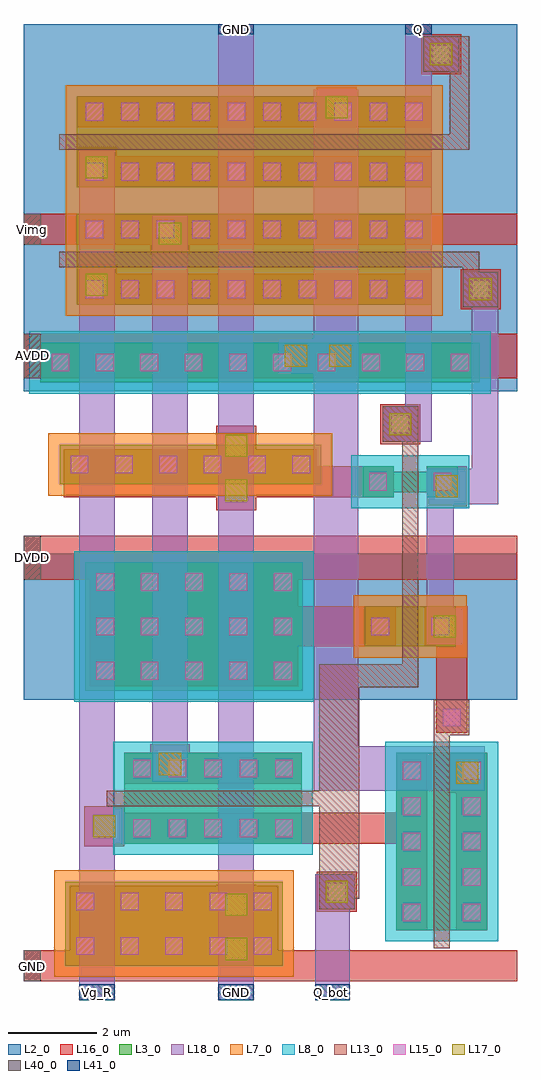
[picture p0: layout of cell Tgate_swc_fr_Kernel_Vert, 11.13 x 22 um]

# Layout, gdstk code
from math import pi, radians
import gdstk
lib = gdstk.Library(unit=1e-6, precision=1e-09)
def R(c, l, rs):  # rectangles x0, y0, x1, y1
    for r in rs: c.add(gdstk.rectangle(r[:2], r[2:], *l))
def A(c, l, x, y, w, h, nx, ny, dx, dy):  # array of equal rectangles
    R(c, l, [(x+i*dx, y+j*dy, x+i*dx+w, y+j*dy+h) for i in range(nx) for j in range(ny)])
L2_0 = (2, 0)
L3_0 = (3, 0)
L7_0 = (7, 0)
L8_0 = (8, 0)
L13_0 = (13, 0)
L15_0 = (15, 0)
L16_0 = (16, 0)
L17_0 = (17, 0)
L18_0 = (18, 0)
L40_0 = (40, 0)
L41_0 = (41, 0)

nch_cdns_760839323830 = lib.new_cell('nch_CDNS_760839323830')
R(nch_cdns_760839323830, L3_0, [(-0.85,0,-0.15,4), (-0.85,0,-0.15,4), (-0.15,0,0.5,4), (0.5,0,1.2,4), (0.5,0,1.2,4)])
R(nch_cdns_760839323830, L8_0, [(-1.1,-0.25,1.45,4.25)])
R(nch_cdns_760839323830, L13_0, [(0,-0.4,0.35,4.4)])
A(nch_cdns_760839323830, L15_0, -0.7, 0.2, 0.4, 0.4, 1, 5, 0, 0.8)
A(nch_cdns_760839323830, L15_0, 0.65, 0.2, 0.4, 0.4, 1, 5, 0, 0.8)
R(nch_cdns_760839323830, L16_0, [(-0.85,0,-0.15,4), (0.5,0,1.2,4)])
nch_cdns_760839323830.add(gdstk.Label('D', (0.85,2), layer=59, texttype=0))
nch_cdns_760839323830.add(gdstk.Label('S', (-0.5,2), layer=59, texttype=0))
nch_cdns_760839323830.add(gdstk.Label('G', (0.175,2), layer=59, texttype=0))
nch_cdns_760839323830.add(gdstk.Label('& SerialNumber 000000', (0,0), layer=16, texttype=0))
nch_cdns_760839323830.add(gdstk.Label('& Distributor VIS', (0,0), layer=16, texttype=0))
nch_cdns_760839323830.add(gdstk.Label('& Metric 1', (0,0), layer=16, texttype=0))
nch_cdns_760839323830.add(gdstk.Label('& Version    \t  1.7A', (0,0), layer=16, texttype=0))
nch_cdns_760839323830.add(gdstk.Label('& PDKName     vis35cv', (0,0), layer=16, texttype=0))
nch_cdns_760839323830.add(gdstk.Label('& Vendor VIS Corp.', (0,0), layer=16, texttype=0))
nch_cdns_760839323830.add(gdstk.Label('& SerialNumber 000000', (0,0), layer=63, texttype=63))
nch_cdns_760839323830.add(gdstk.Label('& Distributor VIS', (0,0), layer=63, texttype=63))
nch_cdns_760839323830.add(gdstk.Label('& Metric 1', (0,0), layer=63, texttype=63))
nch_cdns_760839323830.add(gdstk.Label('& Version    \t  1.7A', (0,0), layer=63, texttype=63))
nch_cdns_760839323830.add(gdstk.Label('& PDKName     vis35cv', (0,0), layer=63, texttype=63))
nch_cdns_760839323830.add(gdstk.Label('& Vendor VIS Corp.', (0,0), layer=63, texttype=63))

pch_cdns_760839323831 = lib.new_cell('pch_CDNS_760839323831')
R(pch_cdns_760839323831, L2_0, [(-2.05,-1.2,2.4,2.1)])
R(pch_cdns_760839323831, L3_0, [(-0.85,0,-0.15,0.9), (-0.85,0,-0.15,0.9), (-0.15,0,0.5,0.9), (0.5,0,1.2,0.9), (0.5,0,1.2,0.9)])
R(pch_cdns_760839323831, L7_0, [(-1.1,-0.25,1.45,1.15)])
R(pch_cdns_760839323831, L13_0, [(0,-0.4,0.35,1.3)])
R(pch_cdns_760839323831, L15_0, [(-0.7,0.25,-0.3,0.65), (0.65,0.25,1.05,0.65)])
R(pch_cdns_760839323831, L16_0, [(-0.85,0,-0.15,0.9), (0.5,0,1.2,0.9)])
pch_cdns_760839323831.add(gdstk.Label('D', (0.85,0.45), layer=59, texttype=0))
pch_cdns_760839323831.add(gdstk.Label('S', (-0.5,0.45), layer=59, texttype=0))
pch_cdns_760839323831.add(gdstk.Label('G', (0.175,0.45), layer=59, texttype=0))
pch_cdns_760839323831.add(gdstk.Label('& SerialNumber 000000', (0,0), layer=16, texttype=0))
pch_cdns_760839323831.add(gdstk.Label('& Distributor VIS', (0,0), layer=16, texttype=0))
pch_cdns_760839323831.add(gdstk.Label('& Metric 1', (0,0), layer=16, texttype=0))
pch_cdns_760839323831.add(gdstk.Label('& Version    \t  1.7A', (0,0), layer=16, texttype=0))
pch_cdns_760839323831.add(gdstk.Label('& PDKName     vis35cv', (0,0), layer=16, texttype=0))
pch_cdns_760839323831.add(gdstk.Label('& Vendor VIS Corp.', (0,0), layer=16, texttype=0))
pch_cdns_760839323831.add(gdstk.Label('& SerialNumber 000000', (0,0), layer=63, texttype=63))
pch_cdns_760839323831.add(gdstk.Label('& Distributor VIS', (0,0), layer=63, texttype=63))
pch_cdns_760839323831.add(gdstk.Label('& Metric 1', (0,0), layer=63, texttype=63))
pch_cdns_760839323831.add(gdstk.Label('& Version    \t  1.7A', (0,0), layer=63, texttype=63))
pch_cdns_760839323831.add(gdstk.Label('& PDKName     vis35cv', (0,0), layer=63, texttype=63))
pch_cdns_760839323831.add(gdstk.Label('& Vendor VIS Corp.', (0,0), layer=63, texttype=63))

nch_cdns_760839323832 = lib.new_cell('nch_CDNS_760839323832')
R(nch_cdns_760839323832, L3_0, [(-0.9,-0.12,-0.2,0.58), (0.55,-0.12,1.25,0.58), (-0.9,0,-0.2,0.46), (-0.2,0,0.55,0.46), (0.55,0,1.25,0.46)])
R(nch_cdns_760839323832, L8_0, [(-1.15,-0.37,1.5,0.83)])
R(nch_cdns_760839323832, L13_0, [(0,-0.4,0.35,0.86)])
R(nch_cdns_760839323832, L15_0, [(-0.75,0.03,-0.35,0.43), (0.7,0.03,1.1,0.43)])
R(nch_cdns_760839323832, L16_0, [(-0.9,-0.12,-0.2,0.58), (0.55,-0.12,1.25,0.58)])
nch_cdns_760839323832.add(gdstk.Label('D', (0.9,0.23), layer=59, texttype=0))
nch_cdns_760839323832.add(gdstk.Label('S', (-0.55,0.23), layer=59, texttype=0))
nch_cdns_760839323832.add(gdstk.Label('G', (0.175,0.23), layer=59, texttype=0))
nch_cdns_760839323832.add(gdstk.Label('& SerialNumber 000000', (0,0), layer=16, texttype=0))
nch_cdns_760839323832.add(gdstk.Label('& Distributor VIS', (0,0), layer=16, texttype=0))
nch_cdns_760839323832.add(gdstk.Label('& Metric 1', (0,0), layer=16, texttype=0))
nch_cdns_760839323832.add(gdstk.Label('& Version    \t  1.7A', (0,0), layer=16, texttype=0))
nch_cdns_760839323832.add(gdstk.Label('& PDKName     vis35cv', (0,0), layer=16, texttype=0))
nch_cdns_760839323832.add(gdstk.Label('& Vendor VIS Corp.', (0,0), layer=16, texttype=0))
nch_cdns_760839323832.add(gdstk.Label('& SerialNumber 000000', (0,0), layer=63, texttype=63))
nch_cdns_760839323832.add(gdstk.Label('& Distributor VIS', (0,0), layer=63, texttype=63))
nch_cdns_760839323832.add(gdstk.Label('& Metric 1', (0,0), layer=63, texttype=63))
nch_cdns_760839323832.add(gdstk.Label('& Version    \t  1.7A', (0,0), layer=63, texttype=63))
nch_cdns_760839323832.add(gdstk.Label('& PDKName     vis35cv', (0,0), layer=63, texttype=63))
nch_cdns_760839323832.add(gdstk.Label('& Vendor VIS Corp.', (0,0), layer=63, texttype=63))

pch_cdns_760839323833 = lib.new_cell('pch_CDNS_760839323833')
R(pch_cdns_760839323833, L2_0, [(-2.05,-1.2,2.4,9.2)])
R(pch_cdns_760839323833, L3_0, [(-0.85,0,-0.15,8), (-0.85,0,-0.15,8), (-0.15,0,0.5,8), (0.5,0,1.2,8), (0.5,0,1.2,8)])
R(pch_cdns_760839323833, L7_0, [(-1.1,-0.25,1.45,8.25)])
R(pch_cdns_760839323833, L13_0, [(0,-0.4,0.35,8.4)])
A(pch_cdns_760839323833, L15_0, -0.7, 0.2, 0.4, 0.4, 1, 10, 0, 0.8)
A(pch_cdns_760839323833, L15_0, 0.65, 0.2, 0.4, 0.4, 1, 10, 0, 0.8)
R(pch_cdns_760839323833, L16_0, [(-0.85,0,-0.15,8), (0.5,0,1.2,8)])
pch_cdns_760839323833.add(gdstk.Label('D', (0.85,4), layer=59, texttype=0))
pch_cdns_760839323833.add(gdstk.Label('S', (-0.5,4), layer=59, texttype=0))
pch_cdns_760839323833.add(gdstk.Label('G', (0.175,4), layer=59, texttype=0))
pch_cdns_760839323833.add(gdstk.Label('& SerialNumber 000000', (0,0), layer=16, texttype=0))
pch_cdns_760839323833.add(gdstk.Label('& Distributor VIS', (0,0), layer=16, texttype=0))
pch_cdns_760839323833.add(gdstk.Label('& Metric 1', (0,0), layer=16, texttype=0))
pch_cdns_760839323833.add(gdstk.Label('& Version    \t  1.7A', (0,0), layer=16, texttype=0))
pch_cdns_760839323833.add(gdstk.Label('& PDKName     vis35cv', (0,0), layer=16, texttype=0))
pch_cdns_760839323833.add(gdstk.Label('& Vendor VIS Corp.', (0,0), layer=16, texttype=0))
pch_cdns_760839323833.add(gdstk.Label('& SerialNumber 000000', (0,0), layer=63, texttype=63))
pch_cdns_760839323833.add(gdstk.Label('& Distributor VIS', (0,0), layer=63, texttype=63))
pch_cdns_760839323833.add(gdstk.Label('& Metric 1', (0,0), layer=63, texttype=63))
pch_cdns_760839323833.add(gdstk.Label('& Version    \t  1.7A', (0,0), layer=63, texttype=63))
pch_cdns_760839323833.add(gdstk.Label('& PDKName     vis35cv', (0,0), layer=63, texttype=63))
pch_cdns_760839323833.add(gdstk.Label('& Vendor VIS Corp.', (0,0), layer=63, texttype=63))

m1_nwell_cdns_7608393238 = lib.new_cell('M1_NWELL_CDNS_760839323830')
R(m1_nwell_cdns_7608393238, L2_0, [(-2.65,-1.65,2.65,1.65)])
R(m1_nwell_cdns_7608393238, L3_0, [(-2.45,-1.45,2.45,1.45)])
R(m1_nwell_cdns_7608393238, L8_0, [(-2.7,-1.7,2.7,1.7)])
A(m1_nwell_cdns_7608393238, L15_0, -2.2, -1.2, 0.4, 0.4, 5, 3, 1, 1)
R(m1_nwell_cdns_7608393238, L16_0, [(-2.35,-1.35,2.35,1.35)])

c_m1_nwell_cdns_7608393238 = lib.new_cell('M1_NWELL_CDNS_760839323831')
R(c_m1_nwell_cdns_7608393238, L2_0, [(-5.15,-0.65,5.15,0.65)])
R(c_m1_nwell_cdns_7608393238, L3_0, [(-4.95,-0.45,4.95,0.45)])
R(c_m1_nwell_cdns_7608393238, L8_0, [(-5.2,-0.7,5.2,0.7)])
A(c_m1_nwell_cdns_7608393238, L15_0, -4.7, -0.2, 0.4, 0.4, 10, 1, 1, 0)
R(c_m1_nwell_cdns_7608393238, L16_0, [(-4.85,-0.35,4.85,0.35)])

m1_pactive_cdns_76083932 = lib.new_cell('M1_PACTIVE_CDNS_760839323832')
R(m1_pactive_cdns_76083932, L3_0, [(-2.95,-0.45,2.95,0.45)])
R(m1_pactive_cdns_76083932, L7_0, [(-3.2,-0.7,3.2,0.7)])
A(m1_pactive_cdns_76083932, L15_0, -2.7, -0.2, 0.4, 0.4, 6, 1, 1, 0)
R(m1_pactive_cdns_76083932, L16_0, [(-2.85,-0.35,2.85,0.35)])

m1_poly1_cdns_7608393238 = lib.new_cell('M1_POLY1_CDNS_760839323833')
R(m1_poly1_cdns_7608393238, L13_0, [(-0.4,-0.4,0.4,0.4)])
R(m1_poly1_cdns_7608393238, L15_0, [(-0.2,-0.2,0.2,0.2)])
R(m1_poly1_cdns_7608393238, L16_0, [(-0.45,-0.45,0.45,0.45)])

m2_m1_cdns_760839323834 = lib.new_cell('M2_M1_CDNS_760839323834')
R(m2_m1_cdns_760839323834, L16_0, [(-0.45,-0.45,0.45,0.45)])
R(m2_m1_cdns_760839323834, L17_0, [(-0.25,-0.25,0.25,0.25)])
R(m2_m1_cdns_760839323834, L18_0, [(-0.4,-0.4,0.4,0.4)])

c_m1_poly1_cdns_7608393238 = lib.new_cell('M1_POLY1_CDNS_760839323835')
R(c_m1_poly1_cdns_7608393238, L13_0, [(-0.4,-0.4,0.4,0.4)])
R(c_m1_poly1_cdns_7608393238, L15_0, [(-0.2,-0.2,0.2,0.2)])
R(c_m1_poly1_cdns_7608393238, L16_0, [(-0.35,-0.35,0.35,0.35)])

m2_m1_cdns_760839323836 = lib.new_cell('M2_M1_CDNS_760839323836')
R(m2_m1_cdns_760839323836, L16_0, [(-0.95,-0.45,0.95,0.45)])
R(m2_m1_cdns_760839323836, L17_0, [(-0.75,-0.25,-0.25,0.25), (0.25,-0.25,0.75,0.25)])
R(m2_m1_cdns_760839323836, L18_0, [(-0.9,-0.4,0.9,0.4)])

m2_m1_cdns_760839323837 = lib.new_cell('M2_M1_CDNS_760839323837')
R(m2_m1_cdns_760839323837, L16_0, [(-0.45,-0.95,0.45,0.95)])
R(m2_m1_cdns_760839323837, L17_0, [(-0.25,-0.75,0.25,-0.25), (-0.25,0.25,0.25,0.75)])
R(m2_m1_cdns_760839323837, L18_0, [(-0.4,-0.9,0.4,0.9)])

c_m1_pactive_cdns_76083932 = lib.new_cell('M1_PACTIVE_CDNS_760839323838')
R(c_m1_pactive_cdns_76083932, L3_0, [(-2.45,-0.95,2.45,0.95)])
R(c_m1_pactive_cdns_76083932, L7_0, [(-2.7,-1.2,2.7,1.2)])
A(c_m1_pactive_cdns_76083932, L15_0, -2.2, -0.7, 0.4, 0.4, 5, 2, 1, 1)
R(c_m1_pactive_cdns_76083932, L16_0, [(-2.35,-0.85,2.35,0.85)])

tgate_swc_fr_kernel_vert = lib.new_cell('Tgate_swc_fr_Kernel_Vert')
R(tgate_swc_fr_kernel_vert, L2_0, [(0,6.77,1.19,10.07), (10.94,6.77,11.13,10.07), (0,13.72,0.18,14.47), (10.4,13.72,11.13,21.57), (0,21.57,11.13,22)])
R(tgate_swc_fr_kernel_vert, L7_0, [(0.95,17.97,9.45,18.07)])
R(tgate_swc_fr_kernel_vert, L13_0, [(6.66,2.28,7.56,7.32), (6.66,7.05,8.89,7.57), (8.54,8.83,8.89,11.05), (8.54,12.31,8.89,12.58), (9.9,16.42,10.27,16.52), (9.6,16.52,10.27,16.87), (9.6,19.17,10.04,21.72)])
R(tgate_swc_fr_kernel_vert, L16_0, [(9.3,6.72,10,8.87), (6.02,7.97,7.69,8.87), (0.91,11.33,7.64,12.03), (0,14.02,11.13,15.02), (0,17.02,1.2,17.72), (9.2,17.02,11.13,17.72)])
R(tgate_swc_fr_kernel_vert, L18_0, [(9.94,11.18,10.1,11.98)])
R(tgate_swc_fr_kernel_vert, L40_0, [(0,0.42,0.39,1.12), (0,9.47,0.39,10.47), (0,14.02,0.39,15.02), (0,17.02,0.39,17.72)])
R(tgate_swc_fr_kernel_vert, L41_0, [(1.25,0,2.05,0.35), (4.39,0,5.19,0.35), (6.57,0,7.35,0.35), (4.39,21.77,5.19,22), (8.6,21.77,9.2,22)])
tgate_swc_fr_kernel_vert.add(gdstk.FlexPath([(6.24,3.87),(8.9,3.87)], 0.7, ends="flush", simple_path=True, layer=16, datatype=0))  # L16_0
tgate_swc_fr_kernel_vert.add(gdstk.FlexPath([(0,0.77),(11.13,0.77)], 0.7, ends="flush", simple_path=True, layer=16, datatype=0))  # L16_0
tgate_swc_fr_kernel_vert.add(gdstk.FlexPath([(0,9.97),(11.13,9.97)], 1, ends="flush", simple_path=True, layer=16, datatype=0))  # L16_0
tgate_swc_fr_kernel_vert.add(gdstk.FlexPath([(6.96,2.44),(6.96,0)], 0.78, ends=(0.4, 0), simple_path=True, layer=18, datatype=0))  # L18_0
tgate_swc_fr_kernel_vert.add(gdstk.FlexPath([(4.79,22),(4.79,0)], 0.8, ends="flush", simple_path=True, layer=18, datatype=0))  # L18_0
tgate_swc_fr_kernel_vert.add(gdstk.FlexPath([(7.04,5.22),(7.04,20.52)], 1, ends=(0.5, 0), simple_path=True, layer=18, datatype=0))  # L18_0
tgate_swc_fr_kernel_vert.add(gdstk.FlexPath([(10.4,5.22),(7.04,5.22)], 1, ends=(0, 0.5), simple_path=True, layer=18, datatype=0))  # L18_0
tgate_swc_fr_kernel_vert.add(gdstk.FlexPath([(3.3,17.68),(3.3,4.92)], 0.8, ends="flush", simple_path=True, layer=18, datatype=0))  # L18_0
tgate_swc_fr_kernel_vert.add(gdstk.FlexPath([(1.65,18.86),(1.65,0)], 0.8, ends="flush", simple_path=True, layer=18, datatype=0))  # L18_0
tgate_swc_fr_kernel_vert.add(gdstk.FlexPath([(9.39,8.42),(9.39,11.98)], 0.6, ends=(0.4, 0), simple_path=True, layer=18, datatype=0))  # L18_0
tgate_swc_fr_kernel_vert.add(gdstk.FlexPath([(10.4,11.18),(10.4,16.37)], 0.6, ends="flush", simple_path=True, layer=18, datatype=0))  # L18_0
tgate_swc_fr_kernel_vert.add(gdstk.FlexPath([(8.9,22),(8.9,12.58)], 0.6, ends="flush", simple_path=True, layer=18, datatype=0))  # L18_0
tgate_swc_fr_kernel_vert.add(gdstk.Reference(nch_cdns_760839323830, (9.25,1.57)))
tgate_swc_fr_kernel_vert.add(gdstk.Reference(nch_cdns_760839323830, (2.27,4.72), rotation=3*pi/2))
tgate_swc_fr_kernel_vert.add(gdstk.Reference(pch_cdns_760839323831, (8.54,7.97)))
tgate_swc_fr_kernel_vert.add(gdstk.Reference(nch_cdns_760839323832, (8.54,11.45)))
tgate_swc_fr_kernel_vert.add(gdstk.Reference(pch_cdns_760839323833, (1.2,19.52), rotation=3*pi/2))
tgate_swc_fr_kernel_vert.add(gdstk.Reference(pch_cdns_760839323833, (1.2,16.87), rotation=3*pi/2))
tgate_swc_fr_kernel_vert.add(gdstk.Reference(m1_nwell_cdns_7608393238, (3.84,8.42)))
tgate_swc_fr_kernel_vert.add(gdstk.Reference(c_m1_nwell_cdns_7608393238, (5.33,14.37)))
tgate_swc_fr_kernel_vert.add(gdstk.Reference(m1_pactive_cdns_76083932, (3.76,12.07)))
tgate_swc_fr_kernel_vert.add(gdstk.Reference(m1_poly1_cdns_7608393238, (7.06,2.44), rotation=3*pi/2))
tgate_swc_fr_kernel_vert.add(gdstk.Reference(m1_poly1_cdns_7608393238, (10.3,16.02), rotation=3*pi/2))
tgate_swc_fr_kernel_vert.add(gdstk.Reference(m1_poly1_cdns_7608393238, (8.49,12.98)))
tgate_swc_fr_kernel_vert.add(gdstk.Reference(m1_poly1_cdns_7608393238, (9.41,21.32)))
tgate_swc_fr_kernel_vert.add(gdstk.Reference(m2_m1_cdns_760839323834, (7.06,2.44), rotation=3*pi/2))
tgate_swc_fr_kernel_vert.add(gdstk.Reference(m2_m1_cdns_760839323834, (7.06,20.12)))
tgate_swc_fr_kernel_vert.add(gdstk.Reference(m2_m1_cdns_760839323834, (10,5.12)))
tgate_swc_fr_kernel_vert.add(gdstk.Reference(m2_m1_cdns_760839323834, (3.3,17.27)))
tgate_swc_fr_kernel_vert.add(gdstk.Reference(m2_m1_cdns_760839323834, (3.3,5.32)))
tgate_swc_fr_kernel_vert.add(gdstk.Reference(m2_m1_cdns_760839323834, (1.65,18.77)))
tgate_swc_fr_kernel_vert.add(gdstk.Reference(m2_m1_cdns_760839323834, (1.82,3.92)))
tgate_swc_fr_kernel_vert.add(gdstk.Reference(m2_m1_cdns_760839323834, (1.65,16.12)))
tgate_swc_fr_kernel_vert.add(gdstk.Reference(m2_m1_cdns_760839323834, (9.49,8.42)))
tgate_swc_fr_kernel_vert.add(gdstk.Reference(m2_m1_cdns_760839323834, (9.54,11.58)))
tgate_swc_fr_kernel_vert.add(gdstk.Reference(m2_m1_cdns_760839323834, (10.3,16.02), rotation=3*pi/2))
tgate_swc_fr_kernel_vert.add(gdstk.Reference(m2_m1_cdns_760839323834, (8.49,12.98)))
tgate_swc_fr_kernel_vert.add(gdstk.Reference(m2_m1_cdns_760839323834, (9.41,21.32)))
tgate_swc_fr_kernel_vert.add(gdstk.Reference(c_m1_poly1_cdns_7608393238, (9.65,6.37)))
tgate_swc_fr_kernel_vert.add(gdstk.Reference(m2_m1_cdns_760839323836, (6.64,14.52)))
tgate_swc_fr_kernel_vert.add(gdstk.Reference(m2_m1_cdns_760839323837, (4.79,1.65)))
tgate_swc_fr_kernel_vert.add(gdstk.Reference(m2_m1_cdns_760839323837, (4.79,11.99)))
tgate_swc_fr_kernel_vert.add(gdstk.Reference(c_m1_pactive_cdns_76083932, (3.39,1.72)))
tgate_swc_fr_kernel_vert.add(gdstk.Label('Vimg', (0.19,17.37), layer=40, texttype=0))
tgate_swc_fr_kernel_vert.add(gdstk.Label('AVDD', (0.19,14.52), layer=40, texttype=0))
tgate_swc_fr_kernel_vert.add(gdstk.Label('DVDD', (0.19,9.97), layer=40, texttype=0))
tgate_swc_fr_kernel_vert.add(gdstk.Label('GND', (0.19,0.76), layer=40, texttype=0))
tgate_swc_fr_kernel_vert.add(gdstk.Label('Q_bot', (6.95,0.18), layer=41, texttype=0))
tgate_swc_fr_kernel_vert.add(gdstk.Label('Vg_R', (1.65,0.18), layer=41, texttype=0))
tgate_swc_fr_kernel_vert.add(gdstk.Label('GND', (4.79,0.18), layer=41, texttype=0))
tgate_swc_fr_kernel_vert.add(gdstk.Label('GND', (4.79,21.88), layer=41, texttype=0))
tgate_swc_fr_kernel_vert.add(gdstk.Label('Q', (8.91,21.88), layer=41, texttype=0))

lib.write_gds('Tgate_swc_fr_Kernel_Vert.gds')
